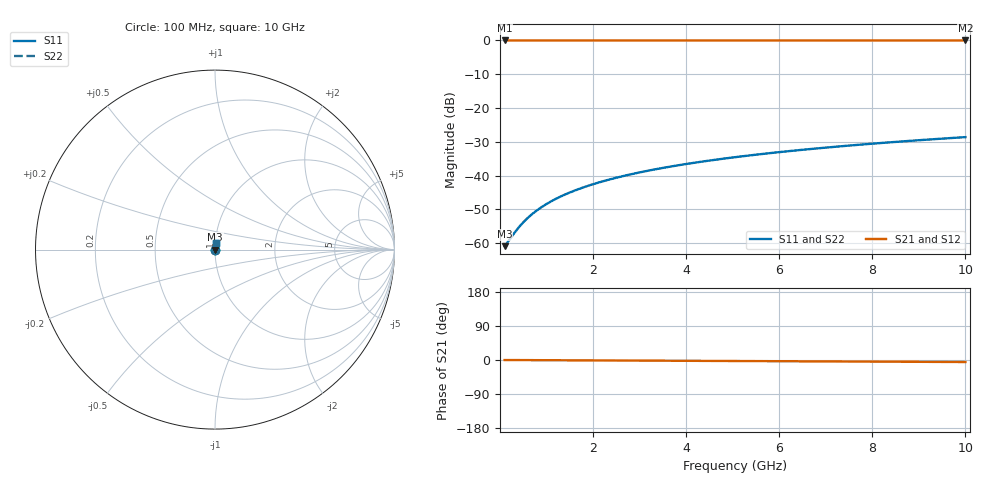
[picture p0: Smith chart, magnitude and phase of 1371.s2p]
# Hz S RI R 50.00
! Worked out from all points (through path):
!   100 points, 100 MHz to 10 GHz, reference 50 ohm
!   highest |S21| = -0.01 dB at 100 MHz (marker M1); lowest = 0.0 dB at 10 GHz (marker M2)
!   lowest |S11| = -60.9 dB at 100 MHz (marker M3), VSWR 1.00, Z = 50.1 + j0.037 ohm
!   |S11| at or under -10 dB: start of sweep to end of sweep
!   |S22| runs from -60.9 to -28.6 dB; largest |S21 - S12| = 0
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1e8  0.000823 0.000369  0.9992 -0.000926  0.9992 -0.000926  0.000823 0.000369
2e8  0.000829 0.000738  0.9992 -0.00185  0.9992 -0.00185  0.000829 0.000738
3e8  0.000834 0.00111  0.9992 -0.00278  0.9992 -0.00278  0.000834 0.00111
4e8  0.00084 0.00148  0.9992 -0.00371  0.9992 -0.00371  0.00084 0.00148
5e8  0.000845 0.00185  0.9991 -0.00463  0.9991 -0.00463  0.000845 0.00185
6e8  0.000851 0.00221  0.9991 -0.00556  0.9991 -0.00556  0.000851 0.00221
7e8  0.000858 0.00258  0.9991 -0.00648  0.9991 -0.00648  0.000858 0.00258
8e8  0.000865 0.00295  0.9991 -0.00741  0.9991 -0.00741  0.000865 0.00295
1e9  0.00088 0.00369  0.9991 -0.00926  0.9991 -0.00926  0.00088 0.00369
1.2e9  0.000898 0.00443  0.9991 -0.0111  0.9991 -0.0111  0.000898 0.00443
1.5e9  0.00093 0.00553  0.999 -0.0139  0.999 -0.0139  0.00093 0.00553
1.8e9  0.000967 0.00664  0.999 -0.0167  0.999 -0.0167  0.000967 0.00664
2.1e9  0.00101 0.00775  0.9989 -0.0195  0.9989 -0.0195  0.00101 0.00775
2.5e9  0.00108 0.00922  0.9988 -0.0232  0.9988 -0.0232  0.00108 0.00922
2.9e9  0.00115 0.0107  0.9987 -0.0269  0.9987 -0.0269  0.00115 0.0107
3.4e9  0.00126 0.0125  0.9985 -0.0315  0.9985 -0.0315  0.00126 0.0125
4.2e9  0.00148 0.0155  0.9982 -0.0389  0.9982 -0.0389  0.00148 0.0155
5.1e9  0.00177 0.0188  0.9978 -0.0473  0.9978 -0.0473  0.00177 0.0188
5.9e9  0.00208 0.0217  0.9973 -0.0547  0.9973 -0.0547  0.00208 0.0217
6.7e9  0.00243 0.0247  0.9968 -0.0621  0.9968 -0.0621  0.00243 0.0247
8.4e9  0.00332 0.0309  0.9955 -0.0779  0.9955 -0.0779  0.00332 0.0309
1e10  0.00435 0.0368  0.994 -0.0928  0.994 -0.0928  0.00435 0.0368
